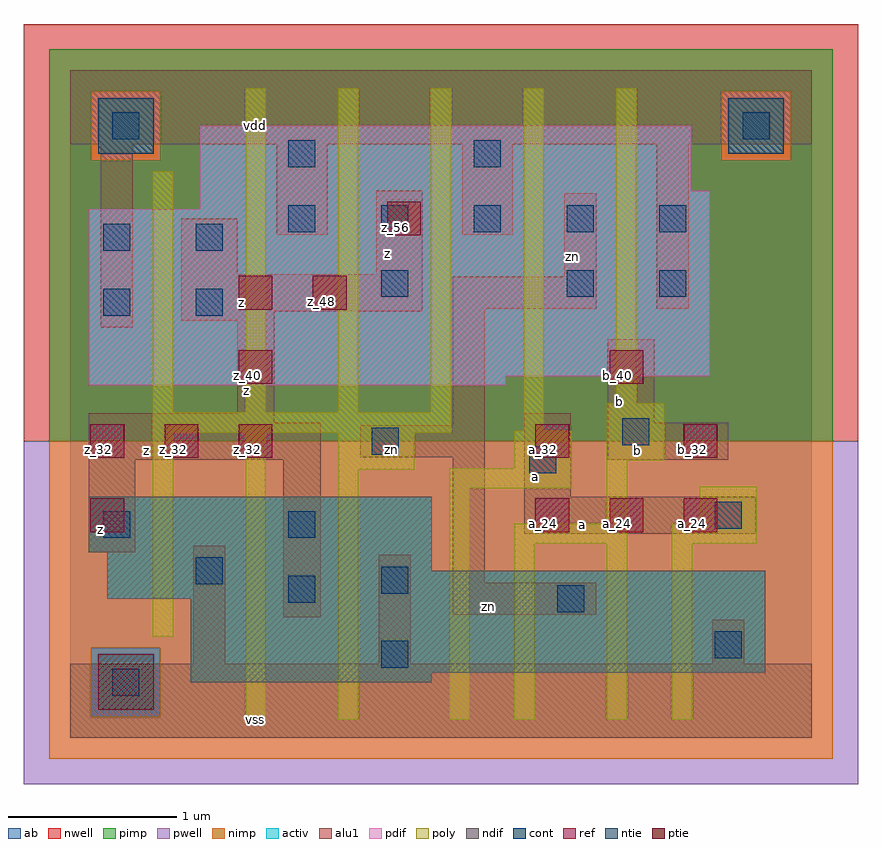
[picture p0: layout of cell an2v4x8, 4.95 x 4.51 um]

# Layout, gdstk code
import gdstk
lib = gdstk.Library(unit=1e-6, precision=2.5e-09)
def R(c, l, rs):  # rectangles x0, y0, x1, y1
    for r in rs: c.add(gdstk.rectangle(r[:2], r[2:], *l))
def A(c, l, x, y, w, h, nx, ny, dx, dy):  # array of equal rectangles
    R(c, l, [(x+i*dx, y+j*dy, x+i*dx+w, y+j*dy+h) for i in range(nx) for j in range(ny)])
ndif = (3, 0)
pdif = (4, 0)
ntie = (5, 0)
ptie = (6, 0)
ref = (24, 0)
cont = (25, 0)
pwell = (41, 0)
nwell = (42, 0)
activ = (43, 0)
pimp = (44, 0)
nimp = (45, 0)
poly = (46, 0)
alu1 = (49, 0)
ab = (63, 0)

an2v4x8 = lib.new_cell('an2v4x8')
R(an2v4x8, ndif, [(0.715,0.33,2.145,0.385), (0.715,0.385,4.125,0.825), (0.22,0.825,4.125,0.99), (0.22,0.99,2.145,1.1), (0.11,1.1,2.145,1.43)])
R(an2v4x8, pdif, [(0.11,2.09,2.585,2.145), (0.11,2.145,3.795,3.135), (0.77,3.135,3.795,3.245), (0.77,3.245,3.685,3.63)])
R(an2v4x8, ntie, [(0.165,3.465,0.495,3.795), (3.905,3.465,4.235,3.795)])
R(an2v4x8, ptie, [(0.165,0.165,0.495,0.495)])
A(an2v4x8, ref, 2.76, 1.22, 0.2, 0.2, 3, 1, 0.44, 0)
A(an2v4x8, ref, 0.12, 1.66, 0.2, 0.2, 3, 1, 0.44, 0)
R(an2v4x8, ref, [(0.12,1.22,0.32,1.42), (2.76,1.66,2.96,1.86), (3.64,1.66,3.84,1.86), (1,2.1,1.2,2.3), (3.2,2.1,3.4,2.3), (1,2.54,1.2,2.74), (1.44,2.54,1.64,2.74), (1.88,2.98,2.08,3.18)])
A(an2v4x8, cont, 1.295, 3, 0.16, 0.16, 5, 1, 0.55, 0)
R(an2v4x8, cont, [(0.25,0.25,0.41,0.41), (1.845,0.415,2.005,0.575), (3.825,0.47,3.985,0.63), (2.89,0.745,3.05,0.905), (1.295,0.8,1.455,0.96), (1.845,0.855,2.005,1.015), (0.745,0.91,0.905,1.07), (0.195,1.185,0.355,1.345), (1.295,1.185,1.455,1.345), (3.825,1.24,3.985,1.4), (2.725,1.57,2.885,1.73), (1.79,1.68,1.95,1.84), (3.275,1.735,3.435,1.895), (0.195,2.505,0.355,2.665), (0.745,2.505,0.905,2.665), (1.845,2.615,2.005,2.775), (2.945,2.615,3.105,2.775), (3.495,2.615,3.655,2.775), (0.195,2.89,0.355,3.05), (0.745,2.89,0.905,3.05), (1.295,3.385,1.455,3.545), (2.395,3.385,2.555,3.545), (0.25,3.55,0.41,3.71), (3.99,3.55,4.15,3.71)])
R(an2v4x8, pwell, [(-0.275,-0.275,4.675,1.76)])
R(an2v4x8, nwell, [(-0.275,1.76,4.675,4.235)])
R(an2v4x8, activ, [(0.165,0.165,0.495,0.495), (0.715,0.33,2.145,0.385), (0.715,0.385,4.125,0.825), (0.22,0.825,4.125,0.99), (0.22,0.99,2.145,1.1), (0.11,1.1,2.145,1.43), (0.11,2.09,2.585,2.145), (0.11,2.145,3.795,3.135), (0.77,3.135,3.795,3.245), (0.77,3.245,3.685,3.63), (0.165,3.465,0.495,3.795), (3.905,3.465,4.235,3.795)])
R(an2v4x8, pimp, [(0.125,0.125,0.535,0.535), (-0.125,1.76,4.525,3.425), (-0.125,3.425,0.125,3.835), (0.535,3.425,3.865,3.835), (4.275,3.425,4.525,3.835), (-0.125,3.835,4.525,4.085)])
R(an2v4x8, nimp, [(-0.125,-0.125,4.525,0.125), (-0.125,0.125,0.125,0.535), (0.535,0.125,4.525,0.535), (-0.125,0.535,4.525,1.76), (0.125,3.425,0.535,3.835), (3.865,3.425,4.275,3.835)])
A(an2v4x8, poly, 1.04, 1.93, 0.12, 1.925, 3, 1, 0.55, 0)
R(an2v4x8, poly, [(1.04,0.105,1.16,1.81), (1.59,0.105,1.71,1.59), (2.25,0.105,2.37,1.48), (2.635,0.105,2.755,1.15), (3.185,0.105,3.305,1.15), (3.57,0.105,3.69,1.15), (0.49,0.6,0.61,1.81), (2.635,1.15,3.305,1.27), (3.57,1.15,4.075,1.27), (3.185,1.27,3.305,1.645), (3.735,1.27,4.075,1.49), (2.25,1.48,2.975,1.6), (1.59,1.59,2.04,1.81), (2.635,1.6,2.975,1.82), (3.185,1.645,3.525,1.985), (0.49,1.81,2.26,1.93), (2.69,1.82,2.81,3.855), (0.49,1.93,0.61,3.36), (3.24,1.985,3.36,3.855)])
R(an2v4x8, alu1, [(0,0,4.4,0.44), (0.73,0.44,0.92,1.14), (1.83,0.44,2.02,1.085), (3.81,0.44,4,0.7), (1.265,0.715,1.485,1.65), (2.27,0.73,3.12,0.92), (2.27,0.92,2.46,1.665), (0.11,1.1,0.385,1.65), (2.695,1.21,4.07,1.43), (2.695,1.43,2.97,1.925), (0.11,1.65,1.485,1.87), (3.19,1.65,3.905,1.87), (1.72,1.665,2.46,1.855), (2.27,1.855,2.46,2.545), (0.11,1.87,1.21,1.925), (3.19,1.87,3.465,2.365), (0.99,1.925,1.21,2.475), (0.18,2.435,0.37,3.52), (0.66,2.475,1.21,2.53), (0.66,2.53,2.09,2.75), (2.27,2.545,3.12,2.735), (3.48,2.545,3.67,3.52), (2.93,2.735,3.12,3.23), (0.66,2.75,0.99,3.08), (1.815,2.75,2.09,3.245), (1.225,2.985,1.525,3.52), (2.325,2.985,2.625,3.52), (0,3.52,4.4,3.96)])
R(an2v4x8, ab, [(0,0,4.4,3.96)])
an2v4x8.add(gdstk.Label('vss', (1.1,0.11), layer=49, texttype=0))
an2v4x8.add(gdstk.Label('zn', (2.4825,0.7775), layer=49, texttype=0))
an2v4x8.add(gdstk.Label('a', (3.0375,1.265), layer=49, texttype=0))
an2v4x8.add(gdstk.Label('b', (3.3675,1.705), layer=49, texttype=0))
an2v4x8.add(gdstk.Label('b', (3.2575,1.9925), layer=49, texttype=0))
an2v4x8.add(gdstk.Label('a', (2.7625,1.5525), layer=49, texttype=0))
an2v4x8.add(gdstk.Label('z', (0.1775,1.2375), layer=49, texttype=0))
an2v4x8.add(gdstk.Label('zn', (1.905,1.7125), layer=49, texttype=0))
an2v4x8.add(gdstk.Label('z', (0.4525,1.705), layer=49, texttype=0))
an2v4x8.add(gdstk.Label('z', (1.045,2.0625), layer=49, texttype=0))
an2v4x8.add(gdstk.Label('zn', (2.9775,2.8575), layer=49, texttype=0))
an2v4x8.add(gdstk.Label('z', (1.0175,2.585), layer=49, texttype=0))
an2v4x8.add(gdstk.Label('z', (1.8825,2.8725), layer=49, texttype=0))
an2v4x8.add(gdstk.Label('vdd', (1.1,3.63), layer=49, texttype=0))
an2v4x8.add(gdstk.Label('b_32', (3.69,1.71), layer=24, texttype=0))
an2v4x8.add(gdstk.Label('a_24', (3.69,1.27), layer=24, texttype=0))
an2v4x8.add(gdstk.Label('b_40', (3.25,2.15), layer=24, texttype=0))
an2v4x8.add(gdstk.Label('a_24', (3.25,1.27), layer=24, texttype=0))
an2v4x8.add(gdstk.Label('a_32', (2.81,1.71), layer=24, texttype=0))
an2v4x8.add(gdstk.Label('a_24', (2.81,1.27), layer=24, texttype=0))
an2v4x8.add(gdstk.Label('z_32', (0.17,1.71), layer=24, texttype=0))
an2v4x8.add(gdstk.Label('z_24', (0.17,1.27), layer=24, texttype=0))
an2v4x8.add(gdstk.Label('z_56', (1.93,3.03), layer=24, texttype=0))
an2v4x8.add(gdstk.Label('z_48', (1.49,2.59), layer=24, texttype=0))
an2v4x8.add(gdstk.Label('z_48', (1.05,2.59), layer=24, texttype=0))
an2v4x8.add(gdstk.Label('z_40', (1.05,2.15), layer=24, texttype=0))
an2v4x8.add(gdstk.Label('z_32', (1.05,1.71), layer=24, texttype=0))
an2v4x8.add(gdstk.Label('z_32', (0.61,1.71), layer=24, texttype=0))

lib.write_gds('an2v4x8.gds')
